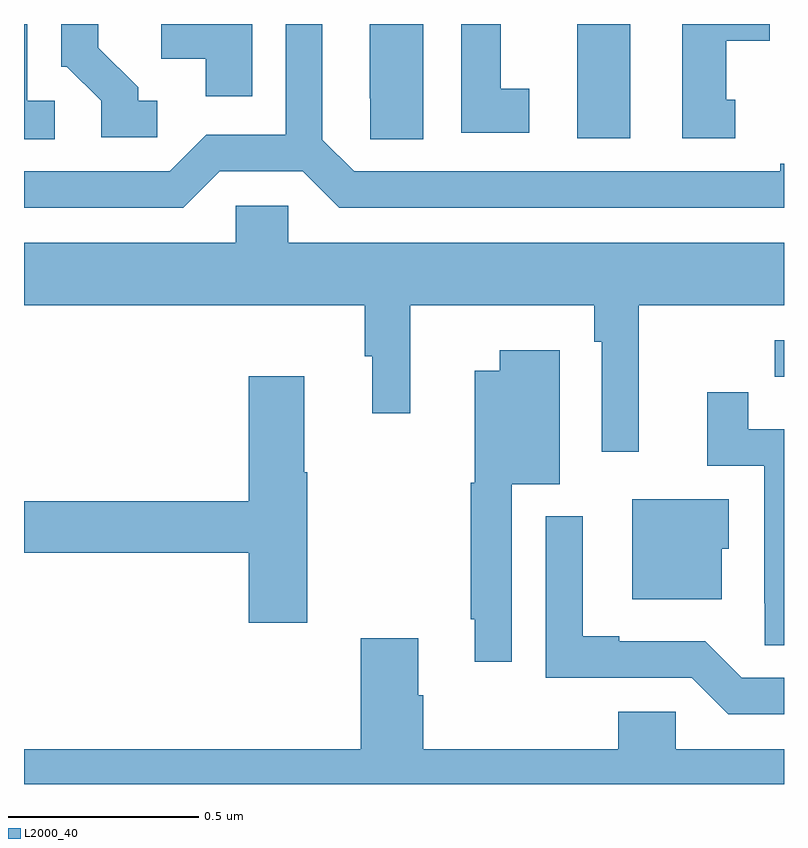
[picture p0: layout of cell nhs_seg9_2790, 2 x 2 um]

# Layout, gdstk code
import gdstk
lib = gdstk.Library(unit=1e-6, precision=1e-09)
def R(c, l, rs):  # rectangles x0, y0, x1, y1
    for r in rs: c.add(gdstk.rectangle(r[:2], r[2:], *l))
def P(c, l, *ps):  # polygons
    for p in ps: c.add(gdstk.Polygon(p, *l))
L2000_40 = (2000, 40)

nhs_seg9_2790 = lib.new_cell('nhs_seg9_2790')
R(nhs_seg9_2790, L2000_40, [(146.976,1189.572,147,1189.668), (146.456,1190.199,146.596,1190.5)])
P(nhs_seg9_2790, L2000_40, [(145.515,1190.112),(145.733,1190.112),(145.829,1190.016),(147,1190.016),(147,1190.132),(146.99,1190.132),(146.99,1190.112),(145.869,1190.112),(145.785,1190.196),(145.785,1190.5),(145.689,1190.5),(145.689,1190.208),(145.479,1190.208),(145.383,1190.112),(145,1190.112),(145,1190.016),(145.419,1190.016)],
  [(145.6,1190.5),(145.361,1190.5),(145.361,1190.408),(145.478,1190.408),(145.478,1190.31),(145.6,1190.31)],
  [(146.05,1190.5),(145.91,1190.5),(145.91,1190.305),(145.911,1190.305),(145.911,1190.197),(146.05,1190.197)],
  [(145.081,1190.298),(145.008,1190.298),(145.008,1190.5),(145,1190.5),(145,1190.197),(145.081,1190.197)],
  [(146.872,1190.301),(146.848,1190.301),(146.848,1190.456),(146.962,1190.456),(146.962,1190.5),(146.732,1190.5),(146.732,1190.199),(146.872,1190.199)],
  [(146.329,1190.33),(146.254,1190.33),(146.254,1190.5),(146.15,1190.5),(146.15,1190.214),(146.329,1190.214)],
  [(145.351,1190.298),(145.3,1190.298),(145.3,1190.333),(145.195,1190.438),(145.195,1190.5),(145.098,1190.5),(145.098,1190.388),(145.113,1190.388),(145.203,1190.298),(145.203,1190.202),(145.351,1190.202)],
  [(146.618,1189.76),(147,1189.76),(147,1189.924),(145.695,1189.924),(145.695,1190.022),(145.557,1190.022),(145.557,1189.924),(145,1189.924),(145,1189.76),(145.897,1189.76),(145.897,1189.626),(145.916,1189.626),(145.916,1189.476),(146.016,1189.476),(146.016,1189.76),(146.5,1189.76),(146.5,1189.664),(146.52,1189.664),(146.52,1189.374),(146.618,1189.374)],
  [(146.283,1189.289),(146.41,1189.289),(146.41,1189.642),(146.252,1189.642),(146.252,1189.588),(146.186,1189.588),(146.186,1189.293),(146.175,1189.293),(146.175,1188.934),(146.186,1188.934),(146.186,1188.822),(146.283,1188.822)],
  [(145.746,1189.321),(145.738,1189.321),(145.738,1189.573),(145.592,1189.573),(145.592,1189.244),(145,1189.244),(145,1189.108),(145.592,1189.108),(145.592,1188.924),(145.746,1188.924)],
  [(147,1189.434),(146.906,1189.434),(146.906,1189.531),(146.798,1189.531),(146.798,1189.338),(146.948,1189.338),(146.948,1188.976),(146.949,1188.976),(146.949,1188.865),(147,1188.865)],
  [(146.836,1189.119),(146.854,1189.119),(146.854,1189.249),(146.6,1189.249),(146.6,1188.986),(146.836,1188.986)],
  [(147,1188.78),(146.889,1188.78),(146.793,1188.876),(146.566,1188.876),(146.566,1188.889),(146.47,1188.889),(146.47,1189.204),(146.373,1189.204),(146.373,1188.78),(146.757,1188.78),(146.853,1188.684),(147,1188.684)],
  [(147,1188.592),(146.715,1188.592),(146.715,1188.69),(146.564,1188.69),(146.564,1188.592),(146.051,1188.592),(146.051,1188.734),(146.038,1188.734),(146.038,1188.883),(145.886,1188.883),(145.886,1188.592),(145,1188.592),(145,1188.5),(147,1188.5)])

lib.write_gds('nhs_seg9_2790.gds')
